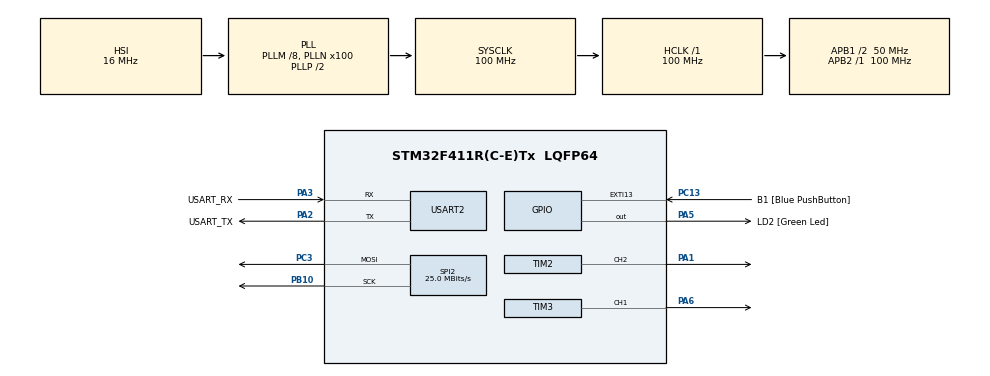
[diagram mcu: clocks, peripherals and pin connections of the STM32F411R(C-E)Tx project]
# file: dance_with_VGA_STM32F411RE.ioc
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Dma.Request0=SPI2_TX
Dma.SPI2_TX.0.Direction=DMA_MEMORY_TO_PERIPH
Dma.SPI2_TX.0.FIFOMode=DMA_FIFOMODE_DISABLE
Dma.SPI2_TX.0.Instance=DMA1_Stream4
Dma.SPI2_TX.0.MemDataAlignment=DMA_MDATAALIGN_BYTE
Dma.SPI2_TX.0.MemInc=DMA_MINC_ENABLE
Dma.SPI2_TX.0.Mode=DMA_NORMAL
Dma.SPI2_TX.0.PeriphDataAlignment=DMA_PDATAALIGN_BYTE
Dma.SPI2_TX.0.PeriphInc=DMA_PINC_DISABLE
Dma.SPI2_TX.0.Priority=DMA_PRIORITY_VERY_HIGH
Mcu.Family=STM32F4
Mcu.Name=STM32F411R(C-E)Tx
Mcu.Package=LQFP64
NVIC.DMA1_Stream4_IRQn=true\:0\:0\:false\:false\:true\:false\:true\:true
NVIC.PriorityGroup=NVIC_PRIORITYGROUP_0
NVIC.TIM2_IRQn=true\:0\:0\:false\:false\:true\:true\:true\:true
NVIC.TIM3_IRQn=true\:0\:0\:false\:false\:true\:true\:true\:true
PA1.Signal=S_TIM2_CH2
PA13.GPIO_Label=TMS
PA13.Mode=Serial_Wire
PA13.Signal=SYS_JTMS-SWDIO
PA14.GPIO_Label=TCK
PA14.Mode=Serial_Wire
PA14.Signal=SYS_JTCK-SWCLK
PA2.GPIO_Label=USART_TX
PA2.Mode=Asynchronous
PA2.Signal=USART2_TX
PA3.GPIO_Label=USART_RX
PA3.Mode=Asynchronous
PA3.Signal=USART2_RX
PA5.GPIO_Label=LD2 [Green Led]
PA5.Signal=GPIO_Output
PA6.Signal=S_TIM3_CH1
PB10.Mode=TX_Only_Simplex_Unidirect_Master
PB10.Signal=SPI2_SCK
PB3.GPIO_Label=SWO
PB3.Signal=SYS_JTDO-SWO
PC13-ANTI_TAMP.GPIO_Label=B1 [Blue PushButton]
PC13-ANTI_TAMP.GPIO_ModeDefaultEXTI=GPIO_MODE_IT_FALLING
PC13-ANTI_TAMP.Signal=GPXTI13
PC14-OSC32_IN.Mode=LSE-External-Oscillator
PC14-OSC32_IN.Signal=RCC_OSC32_IN
PC15-OSC32_OUT.Mode=LSE-External-Oscillator
PC15-OSC32_OUT.Signal=RCC_OSC32_OUT
PC3.Mode=TX_Only_Simplex_Unidirect_Master
PC3.Signal=SPI2_MOSI
PH0\ -\ OSC_IN.Mode=HSE-External-Clock-Source
PH0\ -\ OSC_IN.Signal=RCC_OSC_IN
PH1\ -\ OSC_OUT.Mode=HSE-External-Clock-Source
PH1\ -\ OSC_OUT.Signal=RCC_OSC_OUT
ProjectManager.HeapSize=0x200
ProjectManager.StackSize=0x400
ProjectManager.TargetToolchain=STM32CubeIDE
RCC.48MHZClocksFreq_Value=50000000
RCC.AHBFreq_Value=100000000
RCC.APB1CLKDivider=RCC_HCLK_DIV2
RCC.APB1Freq_Value=50000000
RCC.APB1TimFreq_Value=100000000
RCC.APB2Freq_Value=100000000
RCC.APB2TimFreq_Value=100000000
RCC.CortexFreq_Value=100000000
RCC.FLatency-AdvancedSettings=FLASH_LATENCY_3
RCC.HCLKFreq_Value=100000000
RCC.HSE_VALUE=8000000
RCC.HSI_VALUE=16000000
RCC.PLLM=8
RCC.PLLN=100
RCC.SYSCLKFreq_VALUE=100000000
RCC.SYSCLKSource=RCC_SYSCLKSOURCE_PLLCLK
RCC.VCOOutputFreq_Value=200000000
SH.S_TIM2_CH2.0=TIM2_CH2,PWM Generation2 CH2
SH.S_TIM3_CH1.0=TIM3_CH1,PWM Generation1 CH1
SPI2.BaudRatePrescaler=SPI_BAUDRATEPRESCALER_2
SPI2.CLKPolarity=SPI_POLARITY_LOW
SPI2.CalculateBaudRate=25.0 MBits/s
SPI2.Direction=SPI_DIRECTION_2LINES
SPI2.Mode=SPI_MODE_MASTER
SPI2.VirtualType=VM_MASTER
TIM2.Channel-Output\ Compare3\ No\ Output=TIM_CHANNEL_3
TIM2.Channel-PWM\ Generation2\ CH2=TIM_CHANNEL_2
TIM2.OCFastMode_PWM-PWM\ Generation2\ CH2=TIM_OCFAST_ENABLE
TIM2.OCMode_3=TIM_OCMODE_TIMING
TIM2.OCMode_PWM-PWM\ Generation2\ CH2=TIM_OCMODE_PWM1
TIM2.OCPolarity_2=TIM_OCPOLARITY_LOW
TIM2.OCPolarity_3=TIM_OCPOLARITY_HIGH
TIM2.Period=800-1
TIM2.Prescaler=4-1
TIM2.Pulse-Output\ Compare3\ No\ Output=96+48-140-1
TIM2.Pulse-PWM\ Generation2\ CH2=96-1
TIM2.TIM_MasterOutputTrigger=TIM_TRGO_UPDATE
TIM2.TIM_MasterSlaveMode=TIM_MASTERSLAVEMODE_ENABLE
TIM3.Channel-Output\ Compare2\ No\ Output=TIM_CHANNEL_2
TIM3.Channel-PWM\ Generation1\ CH1=TIM_CHANNEL_1
TIM3.OCMode_PWM-PWM\ Generation1\ CH1=TIM_OCMODE_PWM1
TIM3.OCPolarity_1=TIM_OCPOLARITY_LOW
TIM3.Period=525-1
TIM3.Pulse-Output\ Compare2\ No\ Output=2+33-1
TIM3.Pulse-PWM\ Generation1\ CH1=2-1
USART2.VirtualMode=VM_ASYNC
VP_TIM2_VS_ClockSourceINT.Mode=Internal
VP_TIM2_VS_no_output3.Mode=Output Compare3 No Output
VP_TIM3_VS_ClockSourceITR.Mode=TriggerSource_ITR1
VP_TIM3_VS_ControllerModeClock.Mode=Clock Mode
VP_TIM3_VS_no_output2.Mode=Output Compare2 No Output
board=NUCLEO-F411RE

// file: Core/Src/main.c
/* USER CODE BEGIN Header */
/**
  ******************************************************************************
  * @file           : main.c
  * @brief          : Main program body
  ******************************************************************************
  * @attention
  *
  * Copyright (c) 2025 STMicroelectronics.
  * All rights reserved.
  *
  * This software is licensed under terms that can be found in the LICENSE file
  * in the root directory of this software component.
  * If no LICENSE file comes with this software, it is provided AS-IS.
  *
  ******************************************************************************
  */
/* USER CODE END Header */
#include "main.h"

SPI_HandleTypeDef hspi2;
DMA_HandleTypeDef hdma_spi2_tx;

TIM_HandleTypeDef htim2;
TIM_HandleTypeDef htim3;

UART_HandleTypeDef huart2;

void SystemClock_Config(void);
static void MX_GPIO_Init(void);
static void MX_DMA_Init(void);
static void MX_USART2_UART_Init(void);
static void MX_TIM2_Init(void);
static void MX_TIM3_Init(void);
static void MX_SPI2_Init(void);

/* USER CODE BEGIN 0 */

volatile uint32_t debug_frame_count = 0;      // 프레임 카운터
volatile uint32_t debug_hsync_count = 0;      // H-sync 카운터
volatile uint32_t debug_vsync_count = 0;      // V-sync 카운터
volatile uint32_t debug_spi_complete = 0;     // SPI 완료 카운터
volatile uint32_t debug_spi_start = 0;
volatile uint32_t debug_spi_fail = 0;
volatile uint32_t debug_div_h = 2;

uint8_t fb[V_SIZE][H_SIZE] = {0,};

uint32_t v_flag_on = 0;
uint32_t v_pos = 0;

//void delay_line(uint32_t line){
//	for(int i=0; i<line; i++){
//		HAL_SPI_Transmit_DMA(&hspi2, fb[0], H_SIZE);
//	}
//}

void htim2_callback(){
	if(v_flag_on){
		if (debug_hsync_count%debug_div_h == 0) {
			debug_spi_start++;
			HAL_SPI_Transmit_DMA(&hspi2, fb[v_pos], H_SIZE);
		}
//		if (HAL_SPI_GetState(&hspi2) == HAL_SPI_STATE_READY) {
//			debug_spi_start++;
//			HAL_SPI_Transmit_DMA(&hspi2, fb[v_pos], H_SIZE);
//		}
//		 debug_spi_start++;
//		 HAL_SPI_Transmit_DMA(&hspi2, fb[v_pos], H_SIZE);
	}
	debug_hsync_count++;

	HAL_TIM_OC_Start_IT(&htim2, TIM_CHANNEL_3);
}

void htim3_callback(){
	v_flag_on = 1;
	debug_vsync_count++;
	HAL_TIM_OC_Start_IT(&htim3, TIM_CHANNEL_2);
}

void HAL_TIM_OC_DelayElapsedCallback(TIM_HandleTypeDef *htim){
	if(htim == &htim2){
		htim2_callback();
	}else if(htim == &htim3){
		htim3_callback();
	}
}

void HAL_SPI_TxCpltCallback(SPI_HandleTypeDef *hspi){
	v_pos = v_pos + debug_div_h;
	if(v_pos == V_SIZE){
		v_flag_on = v_pos = 0;
	}
	debug_spi_complete++;
	debug_spi_fail = debug_spi_start - debug_spi_complete;
}

uint32_t debug_past = 0;
uint32_t debug_past_f = 0;

uint32_t debug_now = 0;
uint32_t debug_Hz = 0;

uint32_t debug_d = 0;

void debug_var(uint32_t var, uint32_t tick){
	debug_now = HAL_GetTick();
	if(debug_now - debug_past >= tick){
		debug_d = debug_now - debug_past;
		debug_Hz = var - debug_past_f;

		debug_Hz = debug_Hz*1000/tick;

		debug_past_f = var;
		debug_past = debug_now;
	}
}

/* USER CODE END 0 */

int main(void)
{

  /* MCU Configuration--------------------------------------------------------*/

  /* Reset of all peripherals, Initializes the Flash interface and the Systick. */
  HAL_Init();

  /* Configure the system clock */
  SystemClock_Config();

  /* Initialize all configured peripherals */
  MX_GPIO_Init();
  MX_DMA_Init();
  MX_USART2_UART_Init();
  MX_TIM2_Init();
  MX_TIM3_Init();
  MX_SPI2_Init();
  /* USER CODE BEGIN 2 */
  HAL_TIM_Base_Start(&htim2);
  HAL_TIM_Base_Start(&htim3);

  HAL_TIM_PWM_Start(&htim2, TIM_CHANNEL_2);
  HAL_TIM_PWM_Start(&htim3, TIM_CHANNEL_1);

  HAL_TIM_OC_Start_IT(&htim2, TIM_CHANNEL_3);
  HAL_TIM_OC_Start_IT(&htim3, TIM_CHANNEL_2);

//  for(int j = 190; j < 200; j++){
//	  for(int i = 38/2; i < 43/2; i++){
//		  fb[j][i] = 0xFF;  // 모든 비트 1 (흰색)
//		  }
//  }
//  for(int j = 200; j < 240; j++){
//  	  for(int i = 40/2; i < 42/2; i++){
//  		  fb[j][i] = 0xFF;  // 모든 비트 1 (흰색)
//  		  }
//  }
//  for(int j = 240; j < 250; j++){
//  	  for(int i = 38/2; i < 43/2; i++){
//  		  fb[j][i] = 0xFF;  // 모든 비트 1 (흰색)
//  		  }
//  }
  example_usage();

//  delay_line(1);
  /* USER CODE END 2 */

  /* Infinite loop */
  /* USER CODE BEGIN WHILE */
  while (1)
  {
	  debug_var(debug_hsync_count, 1000);
    /* USER CODE END WHILE */

  }
}

void SystemClock_Config(void)
{
  RCC_OscInitTypeDef RCC_OscInitStruct = {0};
  RCC_ClkInitTypeDef RCC_ClkInitStruct = {0};

  /** Configure the main internal regulator output voltage
  */
  __HAL_RCC_PWR_CLK_ENABLE();
  __HAL_PWR_VOLTAGESCALING_CONFIG(PWR_REGULATOR_VOLTAGE_SCALE1);

  /** Initializes the RCC Oscillators according to the specified parameters
  * in the RCC_OscInitTypeDef structure.
  */
  RCC_OscInitStruct.OscillatorType = RCC_OSCILLATORTYPE_HSI;
  RCC_OscInitStruct.HSIState = RCC_HSI_ON;
  RCC_OscInitStruct.HSICalibrationValue = RCC_HSICALIBRATION_DEFAULT;
  RCC_OscInitStruct.PLL.PLLState = RCC_PLL_ON;
  RCC_OscInitStruct.PLL.PLLSource = RCC_PLLSOURCE_HSI;
  RCC_OscInitStruct.PLL.PLLM = 8;
  RCC_OscInitStruct.PLL.PLLN = 100;
  RCC_OscInitStruct.PLL.PLLP = RCC_PLLP_DIV2;
  RCC_OscInitStruct.PLL.PLLQ = 4;
  if (HAL_RCC_OscConfig(&RCC_OscInitStruct) != HAL_OK)
  {
    Error_Handler();
  }

  /** Initializes the CPU, AHB and APB buses clocks
  */
  RCC_ClkInitStruct.ClockType = RCC_CLOCKTYPE_HCLK|RCC_CLOCKTYPE_SYSCLK
                              |RCC_CLOCKTYPE_PCLK1|RCC_CLOCKTYPE_PCLK2;
  RCC_ClkInitStruct.SYSCLKSource = RCC_SYSCLKSOURCE_PLLCLK;
  RCC_ClkInitStruct.AHBCLKDivider = RCC_SYSCLK_DIV1;
  RCC_ClkInitStruct.APB1CLKDivider = RCC_HCLK_DIV2;
  RCC_ClkInitStruct.APB2CLKDivider = RCC_HCLK_DIV1;

  if (HAL_RCC_ClockConfig(&RCC_ClkInitStruct, FLASH_LATENCY_3) != HAL_OK)
  {
    Error_Handler();
  }
}

static void MX_SPI2_Init(void)
{

  /* SPI2 parameter configuration*/
  hspi2.Instance = SPI2;
  hspi2.Init.Mode = SPI_MODE_MASTER;
  hspi2.Init.Direction = SPI_DIRECTION_2LINES;
  hspi2.Init.DataSize = SPI_DATASIZE_8BIT;
  hspi2.Init.CLKPolarity = SPI_POLARITY_LOW;
  hspi2.Init.CLKPhase = SPI_PHASE_1EDGE;
  hspi2.Init.NSS = SPI_NSS_SOFT;
  hspi2.Init.BaudRatePrescaler = SPI_BAUDRATEPRESCALER_2;
  hspi2.Init.FirstBit = SPI_FIRSTBIT_MSB;
  hspi2.Init.TIMode = SPI_TIMODE_DISABLE;
  hspi2.Init.CRCCalculation = SPI_CRCCALCULATION_DISABLE;
  hspi2.Init.CRCPolynomial = 10;
  if (HAL_SPI_Init(&hspi2) != HAL_OK)
  {
    Error_Handler();
  }

}

static void MX_TIM2_Init(void)
{

  TIM_ClockConfigTypeDef sClockSourceConfig = {0};
  TIM_MasterConfigTypeDef sMasterConfig = {0};
  TIM_OC_InitTypeDef sConfigOC = {0};

  htim2.Instance = TIM2;
  htim2.Init.Prescaler = 4-1;
  htim2.Init.CounterMode = TIM_COUNTERMODE_UP;
  htim2.Init.Period = 800-1;
  htim2.Init.ClockDivision = TIM_CLOCKDIVISION_DIV1;
  htim2.Init.AutoReloadPreload = TIM_AUTORELOAD_PRELOAD_DISABLE;
  if (HAL_TIM_Base_Init(&htim2) != HAL_OK)
  {
    Error_Handler();
  }
  sClockSourceConfig.ClockSource = TIM_CLOCKSOURCE_INTERNAL;
  if (HAL_TIM_ConfigClockSource(&htim2, &sClockSourceConfig) != HAL_OK)
  {
    Error_Handler();
  }
  if (HAL_TIM_PWM_Init(&htim2) != HAL_OK)
  {
    Error_Handler();
  }
  if (HAL_TIM_OC_Init(&htim2) != HAL_OK)
  {
    Error_Handler();
  }
  sMasterConfig.MasterOutputTrigger = TIM_TRGO_UPDATE;
  sMasterConfig.MasterSlaveMode = TIM_MASTERSLAVEMODE_ENABLE;
  if (HAL_TIMEx_MasterConfigSynchronization(&htim2, &sMasterConfig) != HAL_OK)
  {
    Error_Handler();
  }
  sConfigOC.OCMode = TIM_OCMODE_PWM1;
  sConfigOC.Pulse = 96-1;
  sConfigOC.OCPolarity = TIM_OCPOLARITY_LOW;
  sConfigOC.OCFastMode = TIM_OCFAST_ENABLE;
  if (HAL_TIM_PWM_ConfigChannel(&htim2, &sConfigOC, TIM_CHANNEL_2) != HAL_OK)
  {
    Error_Handler();
  }
  sConfigOC.OCMode = TIM_OCMODE_TIMING;
  sConfigOC.Pulse = 96+48-140-1;
  sConfigOC.OCPolarity = TIM_OCPOLARITY_HIGH;
  sConfigOC.OCFastMode = TIM_OCFAST_DISABLE;
  if (HAL_TIM_OC_ConfigChannel(&htim2, &sConfigOC, TIM_CHANNEL_3) != HAL_OK)
  {
    Error_Handler();
  }
  HAL_TIM_MspPostInit(&htim2);

}

static void MX_TIM3_Init(void)
{

  TIM_SlaveConfigTypeDef sSlaveConfig = {0};
  TIM_MasterConfigTypeDef sMasterConfig = {0};
  TIM_OC_InitTypeDef sConfigOC = {0};

  htim3.Instance = TIM3;
  htim3.Init.Prescaler = 0;
  htim3.Init.CounterMode = TIM_COUNTERMODE_UP;
  htim3.Init.Period = 525-1;
  htim3.Init.ClockDivision = TIM_CLOCKDIVISION_DIV1;
  htim3.Init.AutoReloadPreload = TIM_AUTORELOAD_PRELOAD_DISABLE;
  if (HAL_TIM_Base_Init(&htim3) != HAL_OK)
  {
    Error_Handler();
  }
  if (HAL_TIM_PWM_Init(&htim3) != HAL_OK)
  {
    Error_Handler();
  }
  if (HAL_TIM_OC_Init(&htim3) != HAL_OK)
  {
    Error_Handler();
  }
  sSlaveConfig.SlaveMode = TIM_SLAVEMODE_EXTERNAL1;
  sSlaveConfig.InputTrigger = TIM_TS_ITR1;
  if (HAL_TIM_SlaveConfigSynchro(&htim3, &sSlaveConfig) != HAL_OK)
  {
    Error_Handler();
  }
  sMasterConfig.MasterOutputTrigger = TIM_TRGO_RESET;
  sMasterConfig.MasterSlaveMode = TIM_MASTERSLAVEMODE_DISABLE;
  if (HAL_TIMEx_MasterConfigSynchronization(&htim3, &sMasterConfig) != HAL_OK)
  {
    Error_Handler();
  }
  sConfigOC.OCMode = TIM_OCMODE_PWM1;
  sConfigOC.Pulse = 2-1;
  sConfigOC.OCPolarity = TIM_OCPOLARITY_LOW;
  sConfigOC.OCFastMode = TIM_OCFAST_DISABLE;
  if (HAL_TIM_PWM_ConfigChannel(&htim3, &sConfigOC, TIM_CHANNEL_1) != HAL_OK)
  {
    Error_Handler();
  }
  sConfigOC.OCMode = TIM_OCMODE_TIMING;
  sConfigOC.Pulse = 2+33-1;
  sConfigOC.OCPolarity = TIM_OCPOLARITY_HIGH;
  if (HAL_TIM_OC_ConfigChannel(&htim3, &sConfigOC, TIM_CHANNEL_2) != HAL_OK)
  {
    Error_Handler();
  }
  HAL_TIM_MspPostInit(&htim3);

}

static void MX_USART2_UART_Init(void)
{

  huart2.Instance = USART2;
  huart2.Init.BaudRate = 115200;
  huart2.Init.WordLength = UART_WORDLENGTH_8B;
  huart2.Init.StopBits = UART_STOPBITS_1;
  huart2.Init.Parity = UART_PARITY_NONE;
  huart2.Init.Mode = UART_MODE_TX_RX;
  huart2.Init.HwFlowCtl = UART_HWCONTROL_NONE;
  huart2.Init.OverSampling = UART_OVERSAMPLING_16;
  if (HAL_UART_Init(&huart2) != HAL_OK)
  {
    Error_Handler();
  }

}

static void MX_DMA_Init(void)
{

  /* DMA controller clock enable */
  __HAL_RCC_DMA1_CLK_ENABLE();

  /* DMA interrupt init */
  /* DMA1_Stream4_IRQn interrupt configuration */
  HAL_NVIC_SetPriority(DMA1_Stream4_IRQn, 0, 0);
  HAL_NVIC_EnableIRQ(DMA1_Stream4_IRQn);

}

static void MX_GPIO_Init(void)
{
  GPIO_InitTypeDef GPIO_InitStruct = {0};

  /* GPIO Ports Clock Enable */
  __HAL_RCC_GPIOC_CLK_ENABLE();
  __HAL_RCC_GPIOH_CLK_ENABLE();
  __HAL_RCC_GPIOA_CLK_ENABLE();
  __HAL_RCC_GPIOB_CLK_ENABLE();

  /*Configure GPIO pin Output Level */
  HAL_GPIO_WritePin(LD2_GPIO_Port, LD2_Pin, GPIO_PIN_RESET);

  /*Configure GPIO pin : B1_Pin */
  GPIO_InitStruct.Pin = B1_Pin;
  GPIO_InitStruct.Mode = GPIO_MODE_IT_FALLING;
  GPIO_InitStruct.Pull = GPIO_NOPULL;
  HAL_GPIO_Init(B1_GPIO_Port, &GPIO_InitStruct);

  /*Configure GPIO pin : LD2_Pin */
  GPIO_InitStruct.Pin = LD2_Pin;
  GPIO_InitStruct.Mode = GPIO_MODE_OUTPUT_PP;
  GPIO_InitStruct.Pull = GPIO_NOPULL;
  GPIO_InitStruct.Speed = GPIO_SPEED_FREQ_LOW;
  HAL_GPIO_Init(LD2_GPIO_Port, &GPIO_InitStruct);

}

void Error_Handler(void)
{
  __disable_irq();
  while (1)
  {
  }
}
